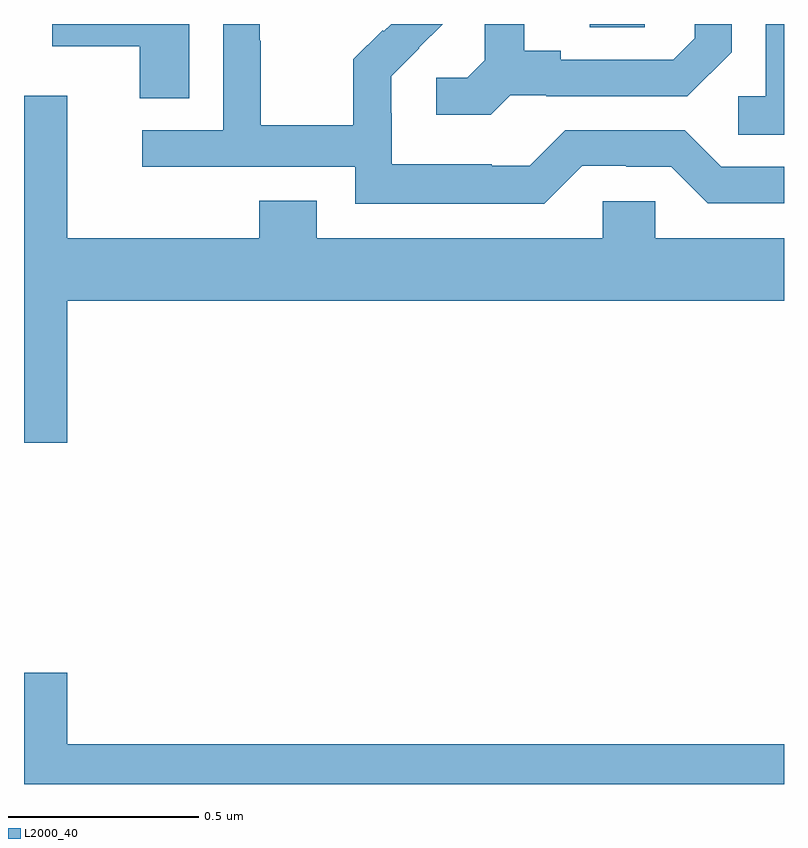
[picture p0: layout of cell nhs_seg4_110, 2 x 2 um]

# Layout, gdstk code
import gdstk
lib = gdstk.Library(unit=1e-6, precision=1e-09)
def R(c, l, rs):  # rectangles x0, y0, x1, y1
    for r in rs: c.add(gdstk.rectangle(r[:2], r[2:], *l))
def P(c, l, *ps):  # polygons
    for p in ps: c.add(gdstk.Polygon(p, *l))
L2000_40 = (2000, 40)

nhs_seg4_110 = lib.new_cell('nhs_seg4_110')
R(nhs_seg4_110, L2000_40, [(113.489,778.891,113.634,778.9)])
P(nhs_seg4_110, L2000_40, [(114,778.9),(113.952,778.9),(113.952,778.71),(113.88,778.71),(113.88,778.609),(114,778.609)],
  [(113.469,778.527),(113.585,778.527),(113.585,778.524),(113.703,778.524),(113.799,778.428),(114,778.428),(114,778.524),(113.835,778.524),(113.739,778.62),(113.424,778.62),(113.331,778.527),(113.231,778.527),(113.231,778.531),(112.968,778.531),(112.968,778.665),(112.966,778.665),(112.966,778.762),(113.04,778.836),(113.039,778.837),(113.102,778.9),(112.966,778.9),(112.947,778.881),(112.944,778.884),(112.867,778.807),(112.867,778.633),(112.623,778.633),(112.623,778.856),(112.62,778.856),(112.62,778.9),(112.524,778.9),(112.524,778.62),(112.311,778.62),(112.311,778.524),(112.872,778.524),(112.872,778.427),(113.369,778.427)],
  [(112.435,778.9),(112.074,778.9),(112.074,778.841),(112.304,778.841),(112.304,778.705),(112.435,778.705)],
  [(113.28,778.713),(113.374,778.713),(113.374,778.71),(113.746,778.71),(113.862,778.826),(113.862,778.9),(113.765,778.9),(113.765,778.863),(113.708,778.806),(113.413,778.806),(113.413,778.829),(113.317,778.829),(113.317,778.9),(113.213,778.9),(113.213,778.805),(113.166,778.758),(113.085,778.758),(113.085,778.661),(113.228,778.661)],
  [(112.114,778.172),(114,778.172),(114,778.336),(113.661,778.336),(113.661,778.434),(113.523,778.434),(113.523,778.336),(112.771,778.336),(112.771,778.435),(112.619,778.435),(112.619,778.336),(112.114,778.336),(112.114,778.711),(112,778.711),(112,777.798),(112.114,777.798)],
  [(114,777.004),(112.114,777.004),(112.114,777.193),(112,777.193),(112,776.9),(114,776.9)])

lib.write_gds('nhs_seg4_110.gds')
